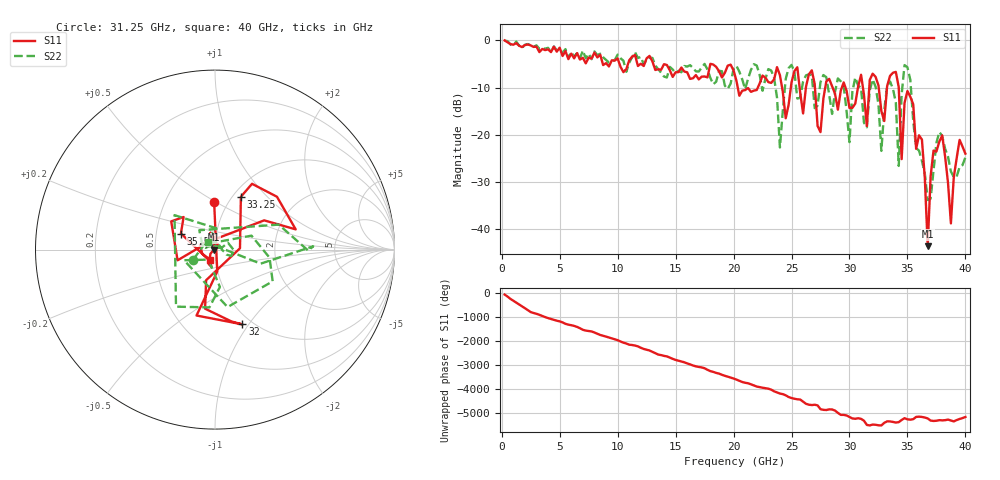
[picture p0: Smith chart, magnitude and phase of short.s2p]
# GHz S RI R 50
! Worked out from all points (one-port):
!   160 points, 250 MHz to 40 GHz, reference 50 ohm
!   lowest |S11| = -43.7 dB at 36.75 GHz (marker M1), VSWR 1.01, Z = 49.4 - j0.0511 ohm
!   |S11| at or under -10 dB: 20.36 GHz to 22.1 GHz (1.734 GHz wide, 8.17 % of centre); 29.66 GHz to 30.73 GHz (1.078 GHz wide, 3.57 % of centre); 34.25 GHz to end of sweep (the widest 3 of 9)
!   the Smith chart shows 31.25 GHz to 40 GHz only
!   S11 on the Smith chart (normalised r, x): 31.25 GHz: 0.86, +0.49; 32 GHz: 0.90, -0.94; 33.25 GHz: 1.09, +0.72; 35.5 GHz: 0.67, +0.13; 40 GHz: 0.94, -0.11
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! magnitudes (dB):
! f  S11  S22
! 250 MHz  0.0  0.0
! 7 GHz  -3.7  -2.1
! 13.5 GHz  -6.1  -6.1
! 20.25 GHz  -8.6  -5.4
! 23.25 GHz  -9.0  -6.4
! 24 GHz  -7.4  -22.7
! 24.75 GHz  -13.7  -5.9
! 26.75 GHz  -6.3  -7.4
! 27.5 GHz  -19.5  -8.8
! 31.25 GHz  -11.5  -17.5
! 32 GHz  -7.1  -8.3
! 32.75 GHz  -15.0  -23.5
! 33.25 GHz  -9.7  -9.7
! 33.5 GHz  -7.5  -8.7
! 34.25 GHz  -9.9  -26.7
! 34.5 GHz  -25.2  -11.5
! 34.75 GHz  -13.3  -5.2
! 35.5 GHz  -13.6  -17.1
! 36.75 GHz  -43.7  -33.9
! 37.25 GHz  -23.4  -27.7
! 38.75 GHz  -38.9  -27.9
! 40 GHz  -24.1  -24.9
